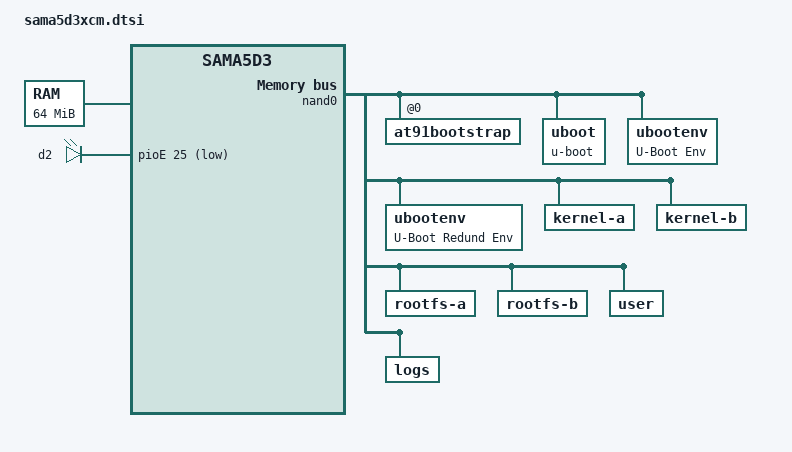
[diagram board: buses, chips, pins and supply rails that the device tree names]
/*
 * sama5d3xcm.dtsi - Device Tree Include file for SAMA5D3x CPU Module
 *
 *  Copyright (C) 2013 Atmel,
 *                2013 Ludovic Desroches <ludovic.desroches@atmel.com>
 *
 * Licensed under GPLv2 or later.
 */

/ {
	compatible = "atmel,sama5d3xcm", "atmel,sama5d3", "atmel,sama5";

	chosen {
		bootargs = "console=ttyS0,115200 earlyprintk loglevel=7 mem=64M rootfstype=ubifs ubi.mtd=5 root=ubi0:rootfs";
		stdout-path = "serial0:115200n8";
	};

	memory {
		reg = <0x20000000 0x4000000>;
	};

	clocks {
		slow_xtal {
			clock-frequency = <32768>;
		};

		main_xtal {
			clock-frequency = <12000000>;
		};
	};

	ahb {
		apb {
			spi0: spi@f0004000 {
				cs-gpios = <&pioD 13 0>, <0>, <0>, <0>;
			};
		};

		nand0: nand@60000000 {
			nand-bus-width = <8>;
			nand-ecc-mode = "hw";
			atmel,has-pmecc;
			atmel,pmecc-cap = <4>;
			atmel,pmecc-sector-size = <512>;
			nand-on-flash-bbt;
			status = "okay";

			at91bootstrap@0 {
				label = "at91bootstrap";
				reg = <0x0 0x20000>;
			};

			uboot@20000 {
				label = "u-boot";
				reg = <0x20000 0x80000>;
			};

			ubootenv@a0000 {
				label = "U-Boot Env";
				reg = <0xa0000 0x20000>;
			};

			ubootenv@c0000 {
				label = "U-Boot Redund Env";
				reg = <0xc0000 0x20000>;
			};

			kernel-a@e0000 {
				label = "kernel-a";
				reg = <0xe0000 0x280000>;
			};

			kernel-b@360000 {
				label = "kernel-b";
				reg = <0x360000 0x280000>;
			};

			rootfs-a@5e0000 {
				label = "rootfs-a";
				reg = <0x5e0000 0x2600000>;
			};

			rootfs-b@2be0000 {
				label = "rootfs-b";
				reg = <0x2be0000 0x2600000>;
			};

			user@51e0000 {
				label = "user";
				reg = <0x51e0000 0x2dc0000>;
			};

			logs@7fa0000 {
				label = "logs";
				reg = <0x7fa0000 0x60000>;
			};
		};
	};

	leds {
		compatible = "gpio-leds";

		d2 {
			label = "d2";
			gpios = <&pioE 25 GPIO_ACTIVE_LOW>;	/* PE25, conflicts with A25, RXD2 */
			linux,default-trigger = "heartbeat";
		};
	};
};
